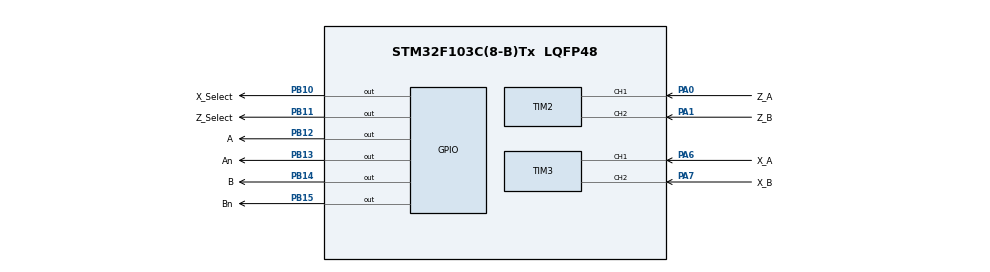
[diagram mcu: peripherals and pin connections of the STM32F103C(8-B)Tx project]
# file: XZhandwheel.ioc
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Mcu.Family=STM32F1
Mcu.Name=STM32F103C(8-B)Tx
Mcu.Package=LQFP48
NVIC.PriorityGroup=NVIC_PRIORITYGROUP_4
PA0-WKUP.GPIO_Label=Z_A
PA0-WKUP.GPIO_PuPd=GPIO_PULLDOWN
PA0-WKUP.Signal=S_TIM2_CH1_ETR
PA1.GPIO_Label=Z_B
PA1.GPIO_PuPd=GPIO_PULLDOWN
PA1.Signal=S_TIM2_CH2
PA13.Mode=Serial_Wire
PA13.Signal=SYS_JTMS-SWDIO
PA14.Mode=Serial_Wire
PA14.Signal=SYS_JTCK-SWCLK
PA6.GPIO_Label=X_A
PA6.GPIO_PuPd=GPIO_PULLDOWN
PA6.Signal=S_TIM3_CH1
PA7.GPIO_Label=X_B
PA7.GPIO_PuPd=GPIO_PULLDOWN
PA7.Signal=S_TIM3_CH2
PB10.GPIO_Label=X_Select
PB10.GPIO_ModeDefaultOutputPP=GPIO_MODE_OUTPUT_PP
PB10.GPIO_PuPd=GPIO_NOPULL
PB10.PinState=GPIO_PIN_SET
PB10.Signal=GPIO_Output
PB11.GPIO_Label=Z_Select
PB11.GPIO_ModeDefaultOutputPP=GPIO_MODE_OUTPUT_PP
PB11.GPIO_PuPd=GPIO_NOPULL
PB11.PinState=GPIO_PIN_SET
PB11.Signal=GPIO_Output
PB12.GPIO_Label=A
PB12.Signal=GPIO_Output
PB13.GPIO_Label=An
PB13.Signal=GPIO_Output
PB14.GPIO_Label=B
PB14.Signal=GPIO_Output
PB15.GPIO_Label=Bn
PB15.Signal=GPIO_Output
PD0-OSC_IN.Mode=HSE-External-Oscillator
PD0-OSC_IN.Signal=RCC_OSC_IN
PD1-OSC_OUT.Mode=HSE-External-Oscillator
PD1-OSC_OUT.Signal=RCC_OSC_OUT
ProjectManager.HeapSize=0x200
ProjectManager.StackSize=0x400
ProjectManager.TargetToolchain=STM32CubeIDE
RCC.APB1Freq_Value=8000000
RCC.APB2Freq_Value=8000000
SH.S_TIM2_CH1_ETR.0=TIM2_CH1,Encoder_Interface
SH.S_TIM2_CH2.0=TIM2_CH2,Encoder_Interface
SH.S_TIM3_CH1.0=TIM3_CH1,Encoder_Interface
SH.S_TIM3_CH2.0=TIM3_CH2,Encoder_Interface
board=custom

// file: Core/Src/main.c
/* USER CODE BEGIN Header */
/**
  ******************************************************************************
  * @file           : main.c
  * @brief          : Main program body
  ******************************************************************************
  * @attention
  *
  * <h2><center>&copy; Copyright (c) 2021 STMicroelectronics.
  * All rights reserved.</center></h2>
  *
  * This software component is licensed by ST under BSD 3-Clause license,
  * the "License"; You may not use this file except in compliance with the
  * License. You may obtain a copy of the License at:
  *                        opensource.org/licenses/BSD-3-Clause
  *
  ******************************************************************************
  */
/* USER CODE END Header */
#include "main.h"

/* USER CODE BEGIN PTD */
	enum AxisName {X_Axis=0, Z_Axis};

/* USER CODE END PTD */

/* USER CODE BEGIN PD */
#define X_AXIS 0x04
#define Z_AXIS 0x08
/* USER CODE END PD */

/* USER CODE BEGIN PM */
#define sign(cnt) 	((cnt<0)?-1:1)
#define abs(cnt)	((cnt<0)?-1*cnt:cnt)

/* USER CODE END PM */

TIM_HandleTypeDef htim2;
TIM_HandleTypeDef htim3;

/* USER CODE BEGIN PV */
	static int32_t X_Count= 0;
	static int32_t Z_Count= 0;
	static int16_t Selected_Axis= X_AXIS;
	int16_t Q[4]= {0x05, 0x09, 0x0a, 0x06};
	_Bool A[4] = { 0, 1, 1, 0 };
	_Bool An[4]= { 1, 0, 0, 1 };
	_Bool B[4] = { 0, 0, 1, 1 };
	_Bool Bn[4]= { 1, 1, 0, 0 };

/* USER CODE END PV */

void SystemClock_Config(void);
static void MX_GPIO_Init(void);
static void MX_TIM2_Init(void);
static void MX_TIM3_Init(void);
/* USER CODE BEGIN PFP */
int16_t SelectAxis( int16_t axis);
int16_t GetSelectedAxis();
int16_t GetX_Count();
int16_t GetZ_Count();
void Quadrature( int count);

/* USER CODE END PFP */

int main(void)
{

  /* MCU Configuration--------------------------------------------------------*/

  /* Reset of all peripherals, Initializes the Flash interface and the Systick. */
  HAL_Init();

  /* Configure the system clock */
  SystemClock_Config();

  /* Initialize all configured peripherals */
  MX_GPIO_Init();
  MX_TIM2_Init();
  MX_TIM3_Init();

  /* Infinite loop */
  while (1)
  {

    /* USER CODE BEGIN 3 */
	  int32_t x= GetX_Count();
	  int32_t z= GetZ_Count();

	  if (x > 0)
	  {
		  SelectAxis( X_AXIS);
		  Quadrature( x);
	  }
	  if (z > 0)
	  {
		  SelectAxis( Z_AXIS);
		  Quadrature( z);
	  }

  }
  /* USER CODE END 3 */
}

void SystemClock_Config(void)
{
  RCC_OscInitTypeDef RCC_OscInitStruct = {0};
  RCC_ClkInitTypeDef RCC_ClkInitStruct = {0};

  /** Initializes the RCC Oscillators according to the specified parameters
  * in the RCC_OscInitTypeDef structure.
  */
  RCC_OscInitStruct.OscillatorType = RCC_OSCILLATORTYPE_HSI;
  RCC_OscInitStruct.HSIState = RCC_HSI_ON;
  RCC_OscInitStruct.HSICalibrationValue = RCC_HSICALIBRATION_DEFAULT;
  RCC_OscInitStruct.PLL.PLLState = RCC_PLL_NONE;
  if (HAL_RCC_OscConfig(&RCC_OscInitStruct) != HAL_OK)
  {
    Error_Handler();
  }
  /** Initializes the CPU, AHB and APB buses clocks
  */
  RCC_ClkInitStruct.ClockType = RCC_CLOCKTYPE_HCLK|RCC_CLOCKTYPE_SYSCLK
                              |RCC_CLOCKTYPE_PCLK1|RCC_CLOCKTYPE_PCLK2;
  RCC_ClkInitStruct.SYSCLKSource = RCC_SYSCLKSOURCE_HSI;
  RCC_ClkInitStruct.AHBCLKDivider = RCC_SYSCLK_DIV1;
  RCC_ClkInitStruct.APB1CLKDivider = RCC_HCLK_DIV1;
  RCC_ClkInitStruct.APB2CLKDivider = RCC_HCLK_DIV1;

  if (HAL_RCC_ClockConfig(&RCC_ClkInitStruct, FLASH_LATENCY_0) != HAL_OK)
  {
    Error_Handler();
  }
}

static void MX_TIM2_Init(void)
{

  TIM_Encoder_InitTypeDef sConfig = {0};
  TIM_MasterConfigTypeDef sMasterConfig = {0};

  htim2.Instance = TIM2;
  htim2.Init.Prescaler = 0;
  htim2.Init.CounterMode = TIM_COUNTERMODE_UP;
  htim2.Init.Period = 65535;
  htim2.Init.ClockDivision = TIM_CLOCKDIVISION_DIV1;
  htim2.Init.AutoReloadPreload = TIM_AUTORELOAD_PRELOAD_DISABLE;
  sConfig.EncoderMode = TIM_ENCODERMODE_TI1;
  sConfig.IC1Polarity = TIM_ICPOLARITY_RISING;
  sConfig.IC1Selection = TIM_ICSELECTION_DIRECTTI;
  sConfig.IC1Prescaler = TIM_ICPSC_DIV1;
  sConfig.IC1Filter = 0;
  sConfig.IC2Polarity = TIM_ICPOLARITY_RISING;
  sConfig.IC2Selection = TIM_ICSELECTION_DIRECTTI;
  sConfig.IC2Prescaler = TIM_ICPSC_DIV1;
  sConfig.IC2Filter = 0;
  if (HAL_TIM_Encoder_Init(&htim2, &sConfig) != HAL_OK)
  {
    Error_Handler();
  }
  sMasterConfig.MasterOutputTrigger = TIM_TRGO_RESET;
  sMasterConfig.MasterSlaveMode = TIM_MASTERSLAVEMODE_DISABLE;
  if (HAL_TIMEx_MasterConfigSynchronization(&htim2, &sMasterConfig) != HAL_OK)
  {
    Error_Handler();
  }
  /* USER CODE BEGIN TIM2_Init 2 */
  HAL_TIM_Encoder_Start(&htim2, TIM_CHANNEL_ALL);

  /* USER CODE END TIM2_Init 2 */

}

static void MX_TIM3_Init(void)
{

  TIM_Encoder_InitTypeDef sConfig = {0};
  TIM_MasterConfigTypeDef sMasterConfig = {0};

  htim3.Instance = TIM3;
  htim3.Init.Prescaler = 0;
  htim3.Init.CounterMode = TIM_COUNTERMODE_UP;
  htim3.Init.Period = 65535;
  htim3.Init.ClockDivision = TIM_CLOCKDIVISION_DIV1;
  htim3.Init.AutoReloadPreload = TIM_AUTORELOAD_PRELOAD_DISABLE;
  sConfig.EncoderMode = TIM_ENCODERMODE_TI1;
  sConfig.IC1Polarity = TIM_ICPOLARITY_RISING;
  sConfig.IC1Selection = TIM_ICSELECTION_DIRECTTI;
  sConfig.IC1Prescaler = TIM_ICPSC_DIV1;
  sConfig.IC1Filter = 0;
  sConfig.IC2Polarity = TIM_ICPOLARITY_RISING;
  sConfig.IC2Selection = TIM_ICSELECTION_DIRECTTI;
  sConfig.IC2Prescaler = TIM_ICPSC_DIV1;
  sConfig.IC2Filter = 0;
  if (HAL_TIM_Encoder_Init(&htim3, &sConfig) != HAL_OK)
  {
    Error_Handler();
  }
  sMasterConfig.MasterOutputTrigger = TIM_TRGO_RESET;
  sMasterConfig.MasterSlaveMode = TIM_MASTERSLAVEMODE_DISABLE;
  if (HAL_TIMEx_MasterConfigSynchronization(&htim3, &sMasterConfig) != HAL_OK)
  {
    Error_Handler();
  }
  /* USER CODE BEGIN TIM3_Init 2 */
  HAL_TIM_Encoder_Start(&htim3, TIM_CHANNEL_ALL);
  /* USER CODE END TIM3_Init 2 */

}

static void MX_GPIO_Init(void)
{
  GPIO_InitTypeDef GPIO_InitStruct = {0};

  /* GPIO Ports Clock Enable */
  __HAL_RCC_GPIOD_CLK_ENABLE();
  __HAL_RCC_GPIOA_CLK_ENABLE();
  __HAL_RCC_GPIOB_CLK_ENABLE();

  /*Configure GPIO pin Output Level */
  HAL_GPIO_WritePin(GPIOB, X_Select_Pin|Z_Select_Pin, GPIO_PIN_SET);

  /*Configure GPIO pin Output Level */
  HAL_GPIO_WritePin(GPIOB, A_Pin|An_Pin|B_Pin|Bn_Pin, GPIO_PIN_RESET);

  /*Configure GPIO pins : X_Select_Pin Z_Select_Pin A_Pin An_Pin
                           B_Pin Bn_Pin */
  GPIO_InitStruct.Pin = X_Select_Pin|Z_Select_Pin|A_Pin|An_Pin
                          |B_Pin|Bn_Pin;
  GPIO_InitStruct.Mode = GPIO_MODE_OUTPUT_PP;
  GPIO_InitStruct.Pull = GPIO_NOPULL;
  GPIO_InitStruct.Speed = GPIO_SPEED_FREQ_LOW;
  HAL_GPIO_Init(GPIOB, &GPIO_InitStruct);

}

/* USER CODE BEGIN 4 */
int16_t SelectAxis( int16_t axis)
{
	Selected_Axis= axis;
	if( Selected_Axis == X_AXIS)
	{
		HAL_GPIO_WritePin(X_Select_GPIO_Port, X_Select_Pin, GPIO_PIN_SET);
		HAL_GPIO_WritePin(Z_Select_GPIO_Port, Z_Select_Pin, GPIO_PIN_RESET);
	}
	else if( Selected_Axis == Z_AXIS)
	{
		HAL_GPIO_WritePin(X_Select_GPIO_Port, X_Select_Pin, GPIO_PIN_RESET);
		HAL_GPIO_WritePin(Z_Select_GPIO_Port, Z_Select_Pin, GPIO_PIN_SET);
	}
	return Selected_Axis;
}

int16_t GetSelectedAxis()
{
	return Selected_Axis;
}

int16_t GetX_Count()
{
	int16_t cnt= (int16_t)TIM3->CNT;
	int16_t diff= cnt - X_Count;
	X_Count= cnt;
	return diff;
}

int16_t GetZ_Count()
{
	int16_t cnt= (int16_t)TIM2->CNT;
	int32_t diff= cnt - Z_Count;
	Z_Count= cnt;
	return diff;
}

void Quadrature( int count)
{
	static int8_t Qindex = 0;
	int8_t dir =  sign(count);
	for (int counter = 0; counter < abs(count); counter++)
	{
		Qindex += dir; Qindex &= 0x3;
		HAL_GPIO_WritePin(A_GPIO_Port, A_Pin, A[Qindex]);
		HAL_GPIO_WritePin(An_GPIO_Port, An_Pin, An[Qindex]);
		HAL_GPIO_WritePin(B_GPIO_Port, B_Pin, B[Qindex]);
		HAL_GPIO_WritePin(Bn_GPIO_Port, Bn_Pin, Bn[Qindex]);
	}
}

/* USER CODE END 4 */

void Error_Handler(void)
{
  __disable_irq();
  while (1)
  {
  }
}

/************************ (C) COPYRIGHT STMicroelectronics *****END OF FILE****/
